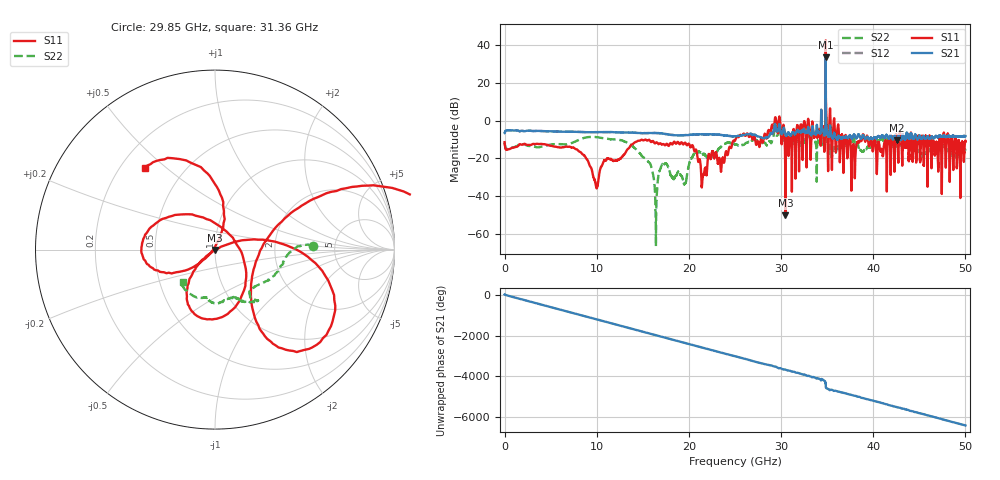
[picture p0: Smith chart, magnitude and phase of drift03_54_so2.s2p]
!Created with skrf (http://scikit-rf.org).
# Hz S RI R 50.0
!freq ReS11 ImS11 ReS21 ImS21 ReS12 ImS12 ReS22 ImS22
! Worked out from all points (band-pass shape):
!   10001 points, 300 kHz to 50 GHz, reference 50 ohm
!   highest |S21| = 33.67 dB at 34.85 GHz (marker M1); lowest = -10.4 dB at 42.56 GHz (marker M2)
!   |S21| within 3 dB of the highest: 34.84417 GHz to 34.84578 GHz (1.611 MHz wide, 0.00462 % of centre)
!   lowest |S11| = -50.1 dB at 30.47 GHz (marker M3), VSWR 1.01, Z = 49.8 - j0.27 ohm
!   |S11| at or under -10 dB: start of sweep to 15.23 GHz; 15.31 GHz to 25.05 GHz (9.738 GHz wide, 48.2 % of centre); 40.22 GHz to 41.62 GHz (1.398 GHz wide, 3.42 % of centre) (the widest 3 of 49)
!   |S22| runs from -66.5 to 24.6 dB; largest |S21 - S12| = 6.6
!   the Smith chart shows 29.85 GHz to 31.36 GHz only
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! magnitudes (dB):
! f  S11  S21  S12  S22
! 300 kHz  -11.4  -6.5  -6.4  -11.4
! 8.335 GHz  -17.1  -6.0  -6.0  -9.6
! 9.955 GHz  -35.5  -6.1  -6.1  -8.7
! 10.99 GHz  -20.8  -6.0  -6.0  -9.5
! 13.95 GHz  -12.2  -6.4  -6.4  -13.8
! 16.36 GHz  -11.9  -6.5  -6.5  -42.6
! 16.67 GHz  -12.4  -6.6  -6.5  -29.9
! 17.35 GHz  -12.8  -7.0  -6.9  -22.9
! 19.55 GHz  -11.7  -7.7  -7.7  -33.4
! 20.22 GHz  -13.9  -7.5  -7.5  -20.3
! 21.55 GHz  -28.8  -7.2  -7.2  -17.7
! 25 GHz  -10.6  -8.2  -8.2  -12.5
! 29.6 GHz  -5.5  -5.7  -5.9  -7.8
! 30.47 GHz  -50.1  -7.2  -7.2  -9.0
! 33.34 GHz  -3.8  -6.8  -6.7  -9.3
! 34.85 GHz  42.5  33.7  33.5  24.6
! 35.62 GHz  -7.2  -9.3  -9.1  -16.0
! 37.83 GHz  -12.7  -8.3  -8.4  -9.9
! 38.82 GHz  -8.7  -8.2  -8.2  -16.2
! 41.67 GHz  -9.2  -9.4  -9.3  -11.3
! 42.56 GHz  -8.3  -10.4  -10.5  -13.4
! 50 GHz  -10.8  -8.2  -8.3  -15.5
